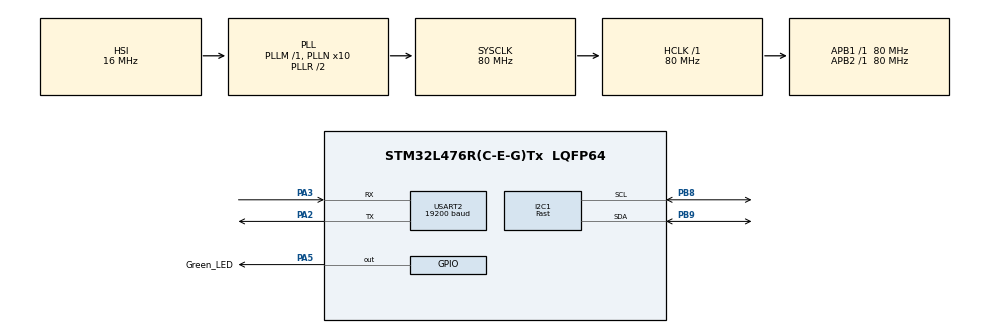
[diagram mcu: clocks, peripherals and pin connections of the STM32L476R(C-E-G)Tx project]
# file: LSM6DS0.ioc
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Dma.Request0=USART2_RX
Dma.Request1=USART2_TX
Dma.USART2_RX.0.Direction=DMA_PERIPH_TO_MEMORY
Dma.USART2_RX.0.Instance=DMA1_Channel6
Dma.USART2_RX.0.MemDataAlignment=DMA_MDATAALIGN_BYTE
Dma.USART2_RX.0.MemInc=DMA_MINC_ENABLE
Dma.USART2_RX.0.Mode=DMA_NORMAL
Dma.USART2_RX.0.PeriphDataAlignment=DMA_PDATAALIGN_BYTE
Dma.USART2_RX.0.PeriphInc=DMA_PINC_DISABLE
Dma.USART2_RX.0.Priority=DMA_PRIORITY_LOW
Dma.USART2_TX.1.Direction=DMA_MEMORY_TO_PERIPH
Dma.USART2_TX.1.Instance=DMA1_Channel7
Dma.USART2_TX.1.MemDataAlignment=DMA_MDATAALIGN_BYTE
Dma.USART2_TX.1.MemInc=DMA_MINC_ENABLE
Dma.USART2_TX.1.Mode=DMA_NORMAL
Dma.USART2_TX.1.PeriphDataAlignment=DMA_PDATAALIGN_BYTE
Dma.USART2_TX.1.PeriphInc=DMA_PINC_DISABLE
Dma.USART2_TX.1.Priority=DMA_PRIORITY_LOW
I2C1.I2C_Speed_Mode=I2C_Fast
I2C1.Timing=0x00702991
Mcu.Family=STM32L4
Mcu.Name=STM32L476R(C-E-G)Tx
Mcu.Package=LQFP64
NVIC.DMA1_Channel6_IRQn=true\:0\:0\:false\:false\:true\:false
NVIC.DMA1_Channel7_IRQn=true\:0\:0\:false\:false\:true\:false
NVIC.PriorityGroup=NVIC_PRIORITYGROUP_4
NVIC.USART2_IRQn=true\:0\:0\:false\:false\:true\:true
PA2.Mode=Asynchronous
PA2.Signal=USART2_TX
PA3.Mode=Asynchronous
PA3.Signal=USART2_RX
PA5.GPIO_Label=Green_LED
PA5.Signal=GPIO_Output
PB8.Mode=I2C
PB8.Signal=I2C1_SCL
PB9.Mode=I2C
PB9.Signal=I2C1_SDA
PH0-OSC_IN\ (PH0).Mode=HSE-External-Oscillator
PH0-OSC_IN\ (PH0).Signal=RCC_OSC_IN
PH1-OSC_OUT\ (PH1).Mode=HSE-External-Oscillator
PH1-OSC_OUT\ (PH1).Signal=RCC_OSC_OUT
ProjectManager.HeapSize=0x200
ProjectManager.StackSize=0x400
ProjectManager.TargetToolchain=SW4STM32
RCC.ADCFreq_Value=64000000
RCC.AHBFreq_Value=80000000
RCC.APB1Freq_Value=80000000
RCC.APB1TimFreq_Value=80000000
RCC.APB2Freq_Value=80000000
RCC.APB2TimFreq_Value=80000000
RCC.CortexFreq_Value=80000000
RCC.HCLKFreq_Value=80000000
RCC.HSE_VALUE=8000000
RCC.HSI_VALUE=16000000
RCC.LSE_VALUE=32768
RCC.MSI_VALUE=4000000
RCC.PLLN=10
RCC.PLLSourceVirtual=RCC_PLLSOURCE_HSI
RCC.PREFETCH_ENABLE=1
RCC.SYSCLKFreq_VALUE=80000000
RCC.SYSCLKSource=RCC_SYSCLKSOURCE_PLLCLK
RCC.USBFreq_Value=64000000
RCC.VCOOutputFreq_Value=160000000
USART2.BaudRate=19200
USART2.VirtualMode-Asynchronous=VM_ASYNC
USART2.WordLength=WORDLENGTH_8B
board=NUCLEO-L476RG

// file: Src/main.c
/**
 ******************************************************************************
 * File Name          : main.c
 * Description        : Main program body
 ******************************************************************************
 ** This notice applies to any and all portions of this file
 * that are not between comment pairs USER CODE BEGIN and
 * USER CODE END. Other portions of this file, whether
 * inserted by the user or by software development tools
 * are owned by their respective copyright owners.
 *
 * COPYRIGHT(c) 2017 STMicroelectronics
 *
 * Redistribution and use in source and binary forms, with or without modification,
 * are permitted provided that the following conditions are met:
 *   1. Redistributions of source code must retain the above copyright notice,
 *      this list of conditions and the following disclaimer.
 *   2. Redistributions in binary form must reproduce the above copyright notice,
 *      this list of conditions and the following disclaimer in the documentation
 *      and/or other materials provided with the distribution.
 *   3. Neither the name of STMicroelectronics nor the names of its contributors
 *      may be used to endorse or promote products derived from this software
 *      without specific prior written permission.
 *
 * THIS SOFTWARE IS PROVIDED BY THE COPYRIGHT HOLDERS AND CONTRIBUTORS "AS IS"
 * AND ANY EXPRESS OR IMPLIED WARRANTIES, INCLUDING, BUT NOT LIMITED TO, THE
 * IMPLIED WARRANTIES OF MERCHANTABILITY AND FITNESS FOR A PARTICULAR PURPOSE ARE
 * DISCLAIMED. IN NO EVENT SHALL THE COPYRIGHT HOLDER OR CONTRIBUTORS BE LIABLE
 * FOR ANY DIRECT, INDIRECT, INCIDENTAL, SPECIAL, EXEMPLARY, OR CONSEQUENTIAL
 * DAMAGES (INCLUDING, BUT NOT LIMITED TO, PROCUREMENT OF SUBSTITUTE GOODS OR
 * SERVICES; LOSS OF USE, DATA, OR PROFITS; OR BUSINESS INTERRUPTION) HOWEVER
 * CAUSED AND ON ANY THEORY OF LIABILITY, WHETHER IN CONTRACT, STRICT LIABILITY,
 * OR TORT (INCLUDING NEGLIGENCE OR OTHERWISE) ARISING IN ANY WAY OUT OF THE USE
 * OF THIS SOFTWARE, EVEN IF ADVISED OF THE POSSIBILITY OF SUCH DAMAGE.
 *
 ******************************************************************************
 */
#include "main.h"
#include "stm32l4xx_hal.h"

/* USER CODE BEGIN Includes */

#include <limits.h>
#include "MadgwickAHRS.h"
#include "lsm6ds0_msg.pb.h"
#include "pb_encode.h"

/* USER CODE END Includes */

I2C_HandleTypeDef hi2c1;

UART_HandleTypeDef huart2;
DMA_HandleTypeDef hdma_usart2_rx;
DMA_HandleTypeDef hdma_usart2_tx;

/* USER CODE BEGIN PV */
/* Private variables ---------------------------------------------------------*/

////////////////////////////////////////////////
/////////// akcelerometr i żyroskop ////////////
////////////////////////////////////////////////

#define LSM6DS0_ADRESS (0x6B << 1) // 1101011x
#define WHO_AM_I 0x0F
#define OUT_X_L_G 0x18 // m�odszy bit dla osi x , dla �yroskopu
#define OUT_X_L_XL 0x28 // m�odszy bit dla osi x, dla akcelerometru
#define LSM6DS0_GYRO_MULTI_READ (OUT_X_L_G | 0x80) // uruchomienie autoinkremetacji po rejestrach
#define LSM6DS0_ACC_MULTI_READ (OUT_X_L_XL | 0x80) // uruchomienie autoinkremetacji po rejestrach

// Rejestry �yroskopu
#define CTRL_REG1_G 0x10 // ustawienie cz�stotliwo�ci �yroskopu i skali pomiaru
uint8_t LSM6DS0_GYRO_952HZ_500DPS = 0xCB; // 11001011

#define CTRL_REG4 0x1E // ustawienie pobierania danych z yaw(odchylenie), pitch(nachylenie), roll(skr�canie)
uint8_t LSM6DS0_GYRO_ALL_AXIS_ENABLE = 0x38; // 00111000

// Rejestry akcelerometru
#define CTRL_REG5_XL 0x1F // adres rejestru od uruchomienie osi x,y,z
uint8_t LSM6DS0_ACC_ALL_AXIS_ENABLE = 0x38; // 00111000

// sta� warto�ci
#define LSM6DS0_ACC_RESOLUTION 2.0 // g
#define LSM6DS0_GYRO_RESOLUTION 500 // dps
#define PI 3.14159265358979323846
#define G 9.80665

// zmienne globalne
uint8_t DataGyro[6];
uint8_t DataAcc[6];

// zmienne dla akcelerometru
int16_t Xacc_m = 0;
int16_t Yacc_m = 0;
int16_t Zacc_m = 0;

float Xacc = 0;
float Yacc = 0;
float Zacc = 0;

// zmienne dla �yroskopu
int16_t Xgyro_m = 0;
int16_t Ygyro_m = 0;
int16_t Zgyro_m = 0;

float Xgyro = 0;
float Ygyro = 0;
float Zgyro = 0;

uint8_t who_am_i_ag;

////////////////////////////////////////////////
///////////////// magnetometr //////////////////
////////////////////////////////////////////////

#define LIS3MDL_ADRESS (0x1E << 1) //  0011100b
uint8_t who_am_i_m;

/* USER CODE END PV */

void SystemClock_Config(void);
static void MX_GPIO_Init(void);
static void MX_DMA_Init(void);
static void MX_I2C1_Init(void);
static void MX_USART2_UART_Init(void);

/* USER CODE BEGIN PFP */
/* Private function prototypes -----------------------------------------------*/

/* USER CODE END PFP */

int main(void) {

	/* MCU Configuration----------------------------------------------------------*/

	/* Reset of all peripherals, Initializes the Flash interface and the Systick. */
	HAL_Init();

	/* Configure the system clock */
	SystemClock_Config();

	/* Initialize all configured peripherals */
	MX_GPIO_Init();
	MX_DMA_Init();
	MX_I2C1_Init();
	MX_USART2_UART_Init();

	/* USER CODE BEGIN 2 */

	HAL_I2C_Mem_Read(&hi2c1, LIS3MDL_ADRESS, WHO_AM_I, 1, &who_am_i_m, 1, 100);
	HAL_I2C_Mem_Read(&hi2c1, LSM6DS0_ADRESS, WHO_AM_I, 1, &who_am_i_ag, 1, 100);

	HAL_I2C_Mem_Write(&hi2c1, LSM6DS0_ADRESS, CTRL_REG1_G, 1,
			&LSM6DS0_GYRO_952HZ_500DPS, 1, 100);
	HAL_I2C_Mem_Write(&hi2c1, LSM6DS0_ADRESS, CTRL_REG4, 1,
			&LSM6DS0_GYRO_ALL_AXIS_ENABLE, 1, 100);

	/* USER CODE END 2 */

	lsm6ds0_msg msg_encoded = lsm6ds0_msg_init_zero;
	uint8_t buffer[100];
	buffer[0] = 0xFF;
	size_t message_lenght;

	/* Infinite loop */
	/* USER CODE BEGIN WHILE */
	while (1) {
		HAL_I2C_Mem_Read(&hi2c1, LSM6DS0_ADRESS, LSM6DS0_GYRO_MULTI_READ, 1,
				DataGyro, 6, 100);
		HAL_I2C_Mem_Read(&hi2c1, LSM6DS0_ADRESS, LSM6DS0_ACC_MULTI_READ, 1,
				DataAcc, 6, 100);

		Xgyro_m = ((DataGyro[1] << 8) | DataGyro[0]);
		Xgyro = (((float) Xgyro_m * LSM6DS0_GYRO_RESOLUTION) / (float) INT16_MAX)
						* (PI / 180);

		Ygyro_m = ((DataGyro[3] << 8) | DataGyro[2]);
		Ygyro = (((float) Ygyro_m * LSM6DS0_GYRO_RESOLUTION) / (float) INT16_MAX)
						* (PI / 180);

		Zgyro_m = ((DataGyro[5] << 8) | DataGyro[4]);
		Zgyro = (((float) Zgyro_m * LSM6DS0_GYRO_RESOLUTION) / (float) INT16_MAX)
						* (PI / 180);

		Xacc_m = ((DataAcc[1] << 8) | DataAcc[0]);
		Xacc = (((float) Xacc_m * LSM6DS0_ACC_RESOLUTION) / (float) INT16_MAX)
				* (G);

		Yacc_m = ((DataAcc[3] << 8) | DataAcc[2]);
		Yacc = (((float) Yacc_m * LSM6DS0_ACC_RESOLUTION) / (float) INT16_MAX)
				* (G);

		Zacc_m = ((DataAcc[5] << 8) | DataAcc[4]);
		Zacc = (((float) Zacc_m * LSM6DS0_ACC_RESOLUTION) / (float) INT16_MAX)
				* (G);

		// Madgwick filter
		MadgwickAHRSupdateIMU(Xgyro, Ygyro, Zgyro, Xacc, Yacc, Zacc);

		msg_encoded.acc_x = Xacc; msg_encoded.acc_y = Yacc; msg_encoded.acc_z = Zacc;
		msg_encoded.gyro_x = Xgyro; msg_encoded.gyro_y = Ygyro; msg_encoded.gyro_z = Zgyro;
		msg_encoded.q0 = q0; msg_encoded.q1 = q1; msg_encoded.q2 = q2; msg_encoded.q3 = q3;

		pb_ostream_t stream = pb_ostream_from_buffer(&buffer[2], sizeof(buffer)-2);
		pb_encode(&stream, lsm6ds0_msg_fields, &msg_encoded);
		message_lenght = stream.bytes_written;
		buffer[1] = (uint8_t)message_lenght;

		HAL_GPIO_WritePin(Green_LED_GPIO_Port, Green_LED_Pin, 1);
		HAL_UART_Transmit_DMA(&huart2, buffer, message_lenght+2);

		/* USER CODE END WHILE */

	}

}

/** System Clock Configuration
 */
void SystemClock_Config(void) {

	RCC_OscInitTypeDef RCC_OscInitStruct;
	RCC_ClkInitTypeDef RCC_ClkInitStruct;
	RCC_PeriphCLKInitTypeDef PeriphClkInit;

	/**Initializes the CPU, AHB and APB busses clocks
	 */
	RCC_OscInitStruct.OscillatorType = RCC_OSCILLATORTYPE_HSI;
	RCC_OscInitStruct.HSIState = RCC_HSI_ON;
	RCC_OscInitStruct.HSICalibrationValue = 16;
	RCC_OscInitStruct.PLL.PLLState = RCC_PLL_ON;
	RCC_OscInitStruct.PLL.PLLSource = RCC_PLLSOURCE_HSI;
	RCC_OscInitStruct.PLL.PLLM = 1;
	RCC_OscInitStruct.PLL.PLLN = 10;
	RCC_OscInitStruct.PLL.PLLP = RCC_PLLP_DIV7;
	RCC_OscInitStruct.PLL.PLLQ = RCC_PLLQ_DIV2;
	RCC_OscInitStruct.PLL.PLLR = RCC_PLLR_DIV2;
	if (HAL_RCC_OscConfig(&RCC_OscInitStruct) != HAL_OK) {
		_Error_Handler(__FILE__, __LINE__);
	}

	/**Initializes the CPU, AHB and APB busses clocks
	 */
	RCC_ClkInitStruct.ClockType = RCC_CLOCKTYPE_HCLK | RCC_CLOCKTYPE_SYSCLK
			| RCC_CLOCKTYPE_PCLK1 | RCC_CLOCKTYPE_PCLK2;
	RCC_ClkInitStruct.SYSCLKSource = RCC_SYSCLKSOURCE_PLLCLK;
	RCC_ClkInitStruct.AHBCLKDivider = RCC_SYSCLK_DIV1;
	RCC_ClkInitStruct.APB1CLKDivider = RCC_HCLK_DIV1;
	RCC_ClkInitStruct.APB2CLKDivider = RCC_HCLK_DIV1;

	if (HAL_RCC_ClockConfig(&RCC_ClkInitStruct, FLASH_LATENCY_4) != HAL_OK) {
		_Error_Handler(__FILE__, __LINE__);
	}

	PeriphClkInit.PeriphClockSelection = RCC_PERIPHCLK_USART2
			| RCC_PERIPHCLK_I2C1;
	PeriphClkInit.Usart2ClockSelection = RCC_USART2CLKSOURCE_PCLK1;
	PeriphClkInit.I2c1ClockSelection = RCC_I2C1CLKSOURCE_PCLK1;
	if (HAL_RCCEx_PeriphCLKConfig(&PeriphClkInit) != HAL_OK) {
		_Error_Handler(__FILE__, __LINE__);
	}

	/**Configure the main internal regulator output voltage
	 */
	if (HAL_PWREx_ControlVoltageScaling(PWR_REGULATOR_VOLTAGE_SCALE1)
			!= HAL_OK) {
		_Error_Handler(__FILE__, __LINE__);
	}

	/**Configure the Systick interrupt time
	 */
	HAL_SYSTICK_Config(HAL_RCC_GetHCLKFreq() / 1000);

	/**Configure the Systick
	 */
	HAL_SYSTICK_CLKSourceConfig(SYSTICK_CLKSOURCE_HCLK);

	/* SysTick_IRQn interrupt configuration */
	HAL_NVIC_SetPriority(SysTick_IRQn, 0, 0);
}

/* I2C1 init function */
static void MX_I2C1_Init(void) {

	hi2c1.Instance = I2C1;
	hi2c1.Init.Timing = 0x00702991;
	hi2c1.Init.OwnAddress1 = 0;
	hi2c1.Init.AddressingMode = I2C_ADDRESSINGMODE_7BIT;
	hi2c1.Init.DualAddressMode = I2C_DUALADDRESS_DISABLE;
	hi2c1.Init.OwnAddress2 = 0;
	hi2c1.Init.OwnAddress2Masks = I2C_OA2_NOMASK;
	hi2c1.Init.GeneralCallMode = I2C_GENERALCALL_DISABLE;
	hi2c1.Init.NoStretchMode = I2C_NOSTRETCH_DISABLE;
	if (HAL_I2C_Init(&hi2c1) != HAL_OK) {
		_Error_Handler(__FILE__, __LINE__);
	}

	/**Configure Analogue filter
	 */
	if (HAL_I2CEx_ConfigAnalogFilter(&hi2c1, I2C_ANALOGFILTER_ENABLE)
			!= HAL_OK) {
		_Error_Handler(__FILE__, __LINE__);
	}

	/**Configure Digital filter
	 */
	if (HAL_I2CEx_ConfigDigitalFilter(&hi2c1, 0) != HAL_OK) {
		_Error_Handler(__FILE__, __LINE__);
	}

}

/* USART2 init function */
static void MX_USART2_UART_Init(void) {

	huart2.Instance = USART2;
	huart2.Init.BaudRate = 19200;
	huart2.Init.WordLength = UART_WORDLENGTH_8B;
	huart2.Init.StopBits = UART_STOPBITS_1;
	huart2.Init.Parity = UART_PARITY_NONE;
	huart2.Init.Mode = UART_MODE_TX_RX;
	huart2.Init.HwFlowCtl = UART_HWCONTROL_NONE;
	huart2.Init.OverSampling = UART_OVERSAMPLING_16;
	huart2.Init.OneBitSampling = UART_ONE_BIT_SAMPLE_DISABLE;
	huart2.AdvancedInit.AdvFeatureInit = UART_ADVFEATURE_NO_INIT;
	if (HAL_UART_Init(&huart2) != HAL_OK) {
		_Error_Handler(__FILE__, __LINE__);
	}

}

static void MX_DMA_Init(void) {
	/* DMA controller clock enable */
	__HAL_RCC_DMA1_CLK_ENABLE()
	;

	/* DMA interrupt init */
	/* DMA1_Channel6_IRQn interrupt configuration */
	HAL_NVIC_SetPriority(DMA1_Channel6_IRQn, 0, 0);
	HAL_NVIC_EnableIRQ(DMA1_Channel6_IRQn);
	/* DMA1_Channel7_IRQn interrupt configuration */
	HAL_NVIC_SetPriority(DMA1_Channel7_IRQn, 0, 0);
	HAL_NVIC_EnableIRQ(DMA1_Channel7_IRQn);

}

/** Configure pins as
 * Analog
 * Input
 * Output
 * EVENT_OUT
 * EXTI
 */
static void MX_GPIO_Init(void) {

	GPIO_InitTypeDef GPIO_InitStruct;

	/* GPIO Ports Clock Enable */
	__HAL_RCC_GPIOH_CLK_ENABLE()
	;
	__HAL_RCC_GPIOA_CLK_ENABLE()
	;
	__HAL_RCC_GPIOB_CLK_ENABLE()
	;

	/*Configure GPIO pin Output Level */
	HAL_GPIO_WritePin(Green_LED_GPIO_Port, Green_LED_Pin, GPIO_PIN_RESET);

	/*Configure GPIO pin : Green_LED_Pin */
	GPIO_InitStruct.Pin = Green_LED_Pin;
	GPIO_InitStruct.Mode = GPIO_MODE_OUTPUT_PP;
	GPIO_InitStruct.Pull = GPIO_NOPULL;
	GPIO_InitStruct.Speed = GPIO_SPEED_FREQ_LOW;
	HAL_GPIO_Init(Green_LED_GPIO_Port, &GPIO_InitStruct);

}

void _Error_Handler(char * file, int line) {
	while (1) {
	}
}

/************************ (C) COPYRIGHT STMicroelectronics *****END OF FILE****/
